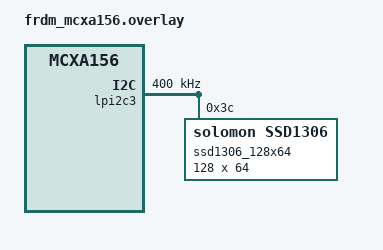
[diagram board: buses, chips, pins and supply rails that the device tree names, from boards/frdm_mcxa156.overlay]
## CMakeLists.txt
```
# SPDX-License-Identifier: Apache-2.0

cmake_minimum_required(VERSION 3.28.0)

find_package(Zephyr REQUIRED HINTS $ENV{ZEPHYR_BASE})
project(render_probe)

target_sources(app PRIVATE src/main.c)
```

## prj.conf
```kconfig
# SPDX-License-Identifier: Apache-2.0

CONFIG_LVGL=y
CONFIG_LV_USE_LABEL=y
CONFIG_LV_USE_BAR=y
CONFIG_LV_USE_LOG=y
CONFIG_LV_FONT_UNSCII_8=y
CONFIG_LV_FONT_DEFAULT_UNSCII_8=y
CONFIG_LV_Z_MEM_POOL_SIZE=32768

CONFIG_DISPLAY=y
CONFIG_INPUT=y
CONFIG_GPIO=y

CONFIG_MAIN_STACK_SIZE=8192

# Note: no colour depth is set here on purpose. It depends on the panel, so the
# preview derives it from the target board's devicetree, and a real project sets
# it in Kconfig.defconfig next to the panel it targets.

# Full refresh with a full-size buffer. This is the layout a monochrome OLED
# application wants, and it also makes partial-refresh corner cases in the
# preview easy to reason about: every flush carries a whole frame.
CONFIG_LV_Z_VDB_SIZE=100
CONFIG_LV_Z_FULL_REFRESH=y
```

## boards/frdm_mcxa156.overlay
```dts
/*
 * The panel this example targets on real hardware: a 128x64 SSD1306 on I2C3.
 *
 * The preview does not need this file to be read by the simulator; it reads the
 * *target* board's devicetree to learn the panel geometry and buttons, then
 * reproduces them. This is the same shape as a real application's overlay.
 */

/ {
	chosen {
		zephyr,display = &ssd1306_128x64;
	};
};

&pinctrl {
	pinmux_lpi2c3: pinmux_lpi2c3 {
		group0 {
			pinmux = <LPI2C3_SDA_P3_28>, <LPI2C3_SCL_P3_27>;
			slew-rate = "fast";
			drive-strength = "low";
			input-enable;
			bias-pull-up;
			drive-open-drain;
		};
	};
};

&lpi2c3 {
	status = "okay";
	pinctrl-0 = <&pinmux_lpi2c3>;
	pinctrl-names = "default";
	clock-frequency = <I2C_BITRATE_FAST>;

	ssd1306_128x64: ssd1306@3c {
		status = "okay";
		compatible = "solomon,ssd1306";
		reg = <0x3c>;
		width = <128>;
		height = <64>;
		segment-offset = <0>;
		page-offset = <0>;
		display-offset = <0>;
		multiplex-ratio = <63>;
		segment-remap;
		com-invdir;
		prechargep = <0x22>;
	};
};
```

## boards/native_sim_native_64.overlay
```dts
/*
 * Intentionally minimal.
 *
 * The buttons this example reacts to come from the *target* board's devicetree
 * and are reproduced by the preview's generated overlay. Declaring more of them
 * here would make the preview show buttons the real device does not have.
 *
 * The preview still needs this file to exist and to be valid devicetree, so the
 * project's own overlay set is unchanged between the target build and the
 * simulator build.
 */

/ {
	preview_note {
		compatible = "zephyr,preview-note";
		status = "disabled";
	};
};
```

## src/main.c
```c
/*
 * render-probe: a small LVGL application used to exercise the preview system.
 *
 * SPDX-License-Identifier: Apache-2.0
 *
 * It draws a known, deterministic pattern so a captured frame can be checked
 * rather than merely looked at:
 *
 *   - a full border, so the exact panel geometry is verifiable
 *   - a large label, so text rendering and the default font are exercised
 *   - a bar that sweeps, so partial refreshes actually happen
 *   - a focusable list, so a keypad can be driven from the preview host
 *   - a press counter, so button events are visibly delivered
 *
 * Everything is sized in fractions of the panel, so the same source looks right
 * on a 128x64 OLED and on a 320x240 colour panel.
 *
 * Nothing here is preview-specific: it is an ordinary LVGL application, which is
 * the point. The preview attaches from outside.
 */

#include <zephyr/device.h>
#include <zephyr/devicetree.h>
#include <zephyr/drivers/display.h>
#include <zephyr/kernel.h>

#include <lvgl.h>

static lv_obj_t *g_status;
static lv_obj_t *g_bar;
static int g_presses;

static void bump(const char *why)
{
	g_presses++;
	lv_label_set_text_fmt(g_status, "%s: %d", why, g_presses);
}

static void on_click(lv_event_t *e)
{
	ARG_UNUSED(e);

	bump("clicks");
}

/*
 * Report every key that arrives, not only the ones LVGL maps to a widget action.
 *
 * A real board's buttons are whatever codes its devicetree gives them: on the
 * MCXA156 they are INPUT_KEY_0 and INPUT_KEY_1, i.e. the characters '0' and '1',
 * which no widget treats as ENTER. Handling the raw key event here is how the
 * preview proves the whole input path works regardless of what the panel's
 * buttons happen to be.
 */
static void on_key(lv_event_t *e)
{
	uint32_t key = lv_event_get_key(e);

	if (key == 0) {
		return;
	}

	lv_label_set_text_fmt(g_status, "key %u", (unsigned)key);
	g_presses++;
}

int main(void)
{
	const struct device *display = DEVICE_DT_GET(DT_CHOSEN(zephyr_display));
	lv_obj_t *screen;
	lv_obj_t *label;
	lv_obj_t *list;
	int32_t width;
	int32_t height;
	int ret;

	if (!device_is_ready(display)) {
		printk("render-probe: display %s is not ready\n", display->name);
		return 0;
	}

	/*
	 * Blanking matters more than it looks. The sink reports it in the frame
	 * header, and a display left blanked is exactly what a "my preview is
	 * empty" report usually turns out to be. Print the result so a failure is
	 * visible instead of silent.
	 */
	ret = display_blanking_off(display);
	printk("render-probe: blanking off -> %d\n", ret);
	if (ret < 0 && ret != -ENOSYS) {
		printk("render-probe: blanking off failed (%d)\n", ret);
	}

	screen = lv_screen_active();
	width = lv_display_get_horizontal_resolution(NULL);
	height = lv_display_get_vertical_resolution(NULL);

	lv_obj_set_style_bg_color(screen, lv_color_black(), 0);
	lv_obj_set_style_bg_opa(screen, LV_OPA_COVER, 0);
	lv_obj_set_style_text_color(screen, lv_color_white(), 0);

	/* A 1px border makes the captured geometry verifiable at a glance. */
	lv_obj_set_style_border_color(screen, lv_color_white(), 0);
	lv_obj_set_style_border_width(screen, 1, 0);

	/* Receive key events on the screen itself. */
	lv_obj_add_flag(screen, LV_OBJ_FLAG_CLICKABLE);
	lv_group_t *group = lv_group_get_default();

	if (group != NULL) {
		lv_group_add_obj(group, screen);
	}
	lv_obj_add_event_cb(screen, on_key, LV_EVENT_KEY, NULL);

	/*
	 * Layout in panel fractions, with a floor of one text line (8 px with the
	 * UNSCII 8 font). On a 128x64 OLED that gives title, bar, list and status
	 * without overlap, and it still looks right on a larger colour panel.
	 */
	const int32_t line = 10;
	const int32_t margin = 3;

	label = lv_label_create(screen);
	lv_label_set_text(label, "PREVIEW");
	lv_obj_set_pos(label, margin, margin);

	g_bar = lv_bar_create(screen);
	lv_obj_set_size(g_bar, width - 2 * margin, MAX(line, height / 8));
	lv_bar_set_range(g_bar, 0, 100);
	lv_bar_set_value(g_bar, 50, LV_ANIM_OFF);
	lv_obj_set_pos(g_bar, margin, margin + line + 2);

	const int32_t list_y = margin + 2 * line + 4;
	const int32_t status_h = line + margin;
	const int32_t list_h = MAX(line * 2, height - list_y - status_h - 2);

	/* A focusable list proves the keypad reaches the application. */
	list = lv_list_create(screen);
	lv_obj_set_size(list, width - 2 * margin, list_h);
	lv_obj_set_pos(list, margin, list_y);

	/*
	 * On a 1bpp panel the theme's defaults are not helpful: a list item is drawn
	 * with a light background and dark text, which on monochrome reads as a solid
	 * white block. Every colour is therefore set explicitly, which is also what a
	 * real OLED application has to do.
	 */
	lv_obj_set_style_bg_color(list, lv_color_black(), 0);
	lv_obj_set_style_bg_opa(list, LV_OPA_COVER, 0);
	lv_obj_set_style_border_color(list, lv_color_white(), 0);
	lv_obj_set_style_border_width(list, 1, 0);
	lv_obj_set_style_text_color(list, lv_color_white(), 0);
	lv_obj_set_style_pad_all(list, 0, 0);
	lv_obj_set_style_pad_row(list, 0, 0);

	lv_obj_t *item = lv_list_add_button(list, NULL, "one");

	lv_obj_add_event_cb(item, on_click, LV_EVENT_CLICKED, NULL);
	item = lv_list_add_button(list, NULL, "two");
	lv_obj_add_event_cb(item, on_click, LV_EVENT_CLICKED, NULL);

	/* Same reasoning as the list itself: state the colours for the buttons. */
	uint32_t count = lv_obj_get_child_count(list);

	for (uint32_t i = 0; i < count; i++) {
		lv_obj_t *child = lv_obj_get_child(list, (int32_t)i);

		lv_obj_set_style_bg_color(child, lv_color_black(), 0);
		lv_obj_set_style_bg_opa(child, LV_OPA_COVER, 0);
		lv_obj_set_style_text_color(child, lv_color_white(), 0);
		lv_obj_set_style_border_width(child, 0, 0);
		lv_obj_set_style_pad_all(child, 1, 0);
		lv_obj_set_style_radius(child, 0, 0);
	}

	g_status = lv_label_create(screen);
	lv_label_set_text(g_status, "presses: 0");
	lv_obj_set_pos(g_status, margin, height - status_h);

	printk("render-probe: drawing on %dx%d\n", (int)width, (int)height);

	while (1) {
		/* Sweep the bar so partial refreshes actually happen. */
		static int value = 50;
		static int step = 7;

		value += step;
		if (value >= 100) {
			value = 100;
			step = -step;
		} else if (value <= 0) {
			value = 0;
			step = -step;
		}
		lv_bar_set_value(g_bar, value, LV_ANIM_OFF);

		/*
		 * Drive LVGL from the application, which is the ordinary LVGL
		 * pattern. The preview also works when an application does not do
		 * this (it enables CONFIG_LV_Z_RUN_LVGL_ON_WORKQUEUE), but doing it
		 * here keeps the example honest and independent of that setting.
		 */
		lv_timer_handler();

		k_sleep(K_MSEC(200));
	}

	return 0;
}
```
